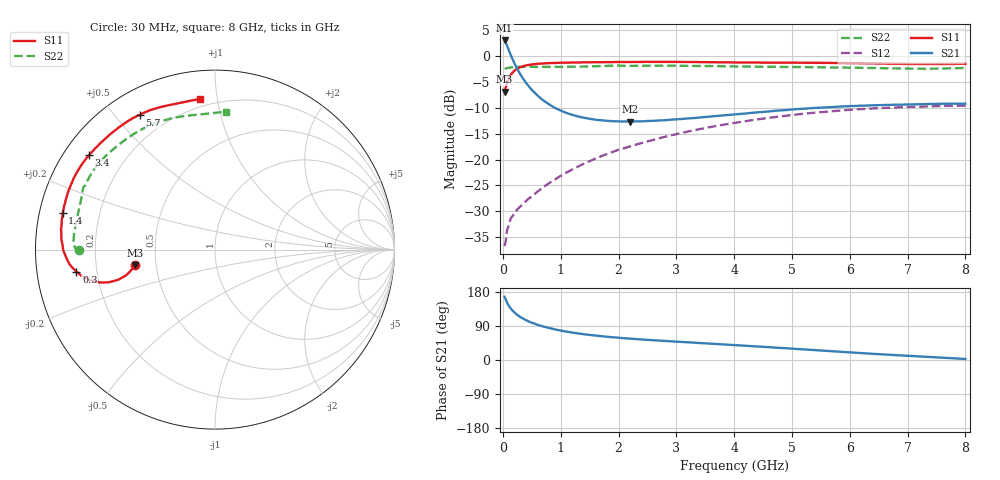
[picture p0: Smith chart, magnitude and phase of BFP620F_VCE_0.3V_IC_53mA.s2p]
! Infineon Technologies  Discrete & RF Semiconductors
! BFP620F
! VCE =  0.3 V,  IC =  53 mA
! Common Emitter S-Parameters:  Dec 2014
# GHz  S  MA  R  50
!  f  S11  S21  S12  S22
! GHz  MAG  ANG  MAG  ANG  MAG  ANG  MAG  ANG
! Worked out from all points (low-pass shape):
!   95 points, 30 MHz to 8 GHz, reference 50 ohm
!   highest |S21| = 3.05 dB at 30 MHz (marker M1); lowest = -12.7 dB at 2.2 GHz (marker M2)
!   |S21| within 3 dB of the highest: start of sweep to 143.1 MHz
!   lowest |S11| = -6.8 dB at 30 MHz (marker M3), VSWR 2.67, Z = 18.9 - j4.17 ohm
!   |S11| at or under -10 dB: nowhere
!   |S22| runs from -2.4 to -1.8 dB; largest |S21 - S12| = 1.4
!   S11 on the Smith chart (normalised r, x): 30 MHz: 0.38, -0.08; 300 MHz: 0.12, -0.08; 1.4 GHz: 0.07, +0.12; 3.4 GHz: 0.07, +0.33; 5.7 GHz: 0.10, +0.58; 8 GHz: 0.15, +0.89
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0.03  0.4549 -168.9  1.421 166.8  0.0145 23.4  0.7562 -179.8
0.05  0.4977 -164.9  1.345 159.3  0.0162 34.4  0.7612 -179.6
0.06  0.5208 -163.7  1.31 155.6  0.0185 32.2  0.7633 -179.6
0.08  0.5637 -162.7  1.233 149.3  0.0214 36.0  0.7683 -179.7
0.11  0.6193 -162.9  1.118 141.5  0.0245 35.9  0.775 179.9
0.15  0.6761 -164.4  0.986 133.4  0.0276 36.5  0.7804 179.2
0.2  0.7251 -166.6  0.854 125.3  0.0299 37.7  0.7846 178.2
0.25  0.7588 -168.9  0.751 119.0  0.033 38.5  0.7884 177.2
0.3  0.782 -171.0  0.67 113.6  0.0351 40.3  0.7898 176.2
0.35  0.8001 -172.7  0.606 109.2  0.0374 41.8  0.7892 175.3
0.45  0.8244 -175.9  0.51 101.6  0.042 45.2  0.79 173.6
0.6  0.8451 -179.7  0.416 93.0  0.049 49.1  0.7885 171.3
0.9  0.8602 174.2  0.316 80.8  0.0642 53.9  0.7886 167.1
1.4  0.8727 166.5  0.254 68.0  0.0911 56.4  0.794 160.6
2.2  0.8795 156.6  0.233 56.4  0.134 53.7  0.8068 152.7
2.7  0.8818 151.1  0.239 51.3  0.1605 50.9  0.8086 148.5
3.4  0.8773 143.2  0.255 44.8  0.1968 45.5  0.8047 142.3
4.1  0.8698 135.5  0.276 38.5  0.2305 39.5  0.7956 135.1
5.4  0.864 122.1  0.316 26.0  0.2843 27.1  0.7825 119.5
5.7  0.8606 119.2  0.322 23.1  0.2938 24.1  0.7785 115.9
6.7  0.846 108.6  0.338 13.7  0.3171 14.5  0.7635 103.2
8  0.845 95.7  0.347 2.7  0.3324 3.4  0.7707 85.6
